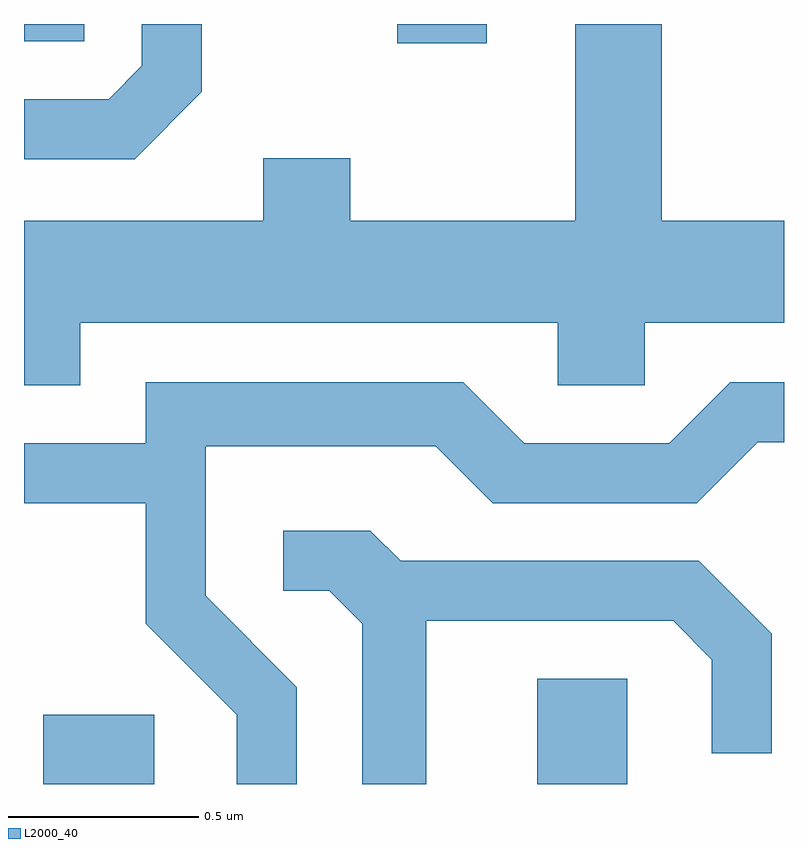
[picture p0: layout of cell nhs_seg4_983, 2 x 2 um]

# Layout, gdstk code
import gdstk
lib = gdstk.Library(unit=1e-6, precision=1e-09)
def R(c, l, rs):  # rectangles x0, y0, x1, y1
    for r in rs: c.add(gdstk.rectangle(r[:2], r[2:], *l))
def P(c, l, *ps):  # polygons
    for p in ps: c.add(gdstk.Polygon(p, *l))
L2000_40 = (2000, 40)

nhs_seg4_983 = lib.new_cell('nhs_seg4_983')
R(nhs_seg4_983, L2000_40, [(192.661,1277.982,192.954,1278.164), (193.961,1277.982,194.199,1278.259), (193.593,1279.931,193.829,1279.982), (192.611,1279.936,192.769,1279.982)])
P(nhs_seg4_983, L2000_40, [(192.759,1279.196),(194.016,1279.196),(194.016,1279.031),(194.244,1279.031),(194.244,1279.196),(194.611,1279.196),(194.611,1279.464),(194.289,1279.464),(194.289,1279.982),(194.061,1279.982),(194.061,1279.464),(193.469,1279.464),(193.469,1279.629),(193.241,1279.629),(193.241,1279.464),(192.611,1279.464),(192.611,1279.031),(192.759,1279.031)],
  [(193.079,1279.804),(193.079,1279.982),(192.921,1279.982),(192.921,1279.872),(192.834,1279.784),(192.611,1279.784),(192.611,1279.626),(192.902,1279.626)],
  [(193.329,1278.237),(193.089,1278.477),(193.089,1278.871),(193.694,1278.871),(193.844,1278.721),(194.382,1278.721),(194.542,1278.881),(194.611,1278.881),(194.611,1279.039),(194.469,1279.039),(194.309,1278.879),(193.927,1278.879),(193.767,1279.039),(192.931,1279.039),(192.931,1278.879),(192.611,1278.879),(192.611,1278.721),(192.931,1278.721),(192.931,1278.404),(193.171,1278.164),(193.171,1277.982),(193.329,1277.982)],
  [(193.669,1278.411),(194.319,1278.411),(194.421,1278.309),(194.421,1278.063),(194.579,1278.063),(194.579,1278.377),(194.387,1278.569),(193.602,1278.569),(193.522,1278.649),(193.293,1278.649),(193.293,1278.491),(193.414,1278.491),(193.501,1278.404),(193.501,1277.982),(193.669,1277.982)])

lib.write_gds('nhs_seg4_983.gds')
